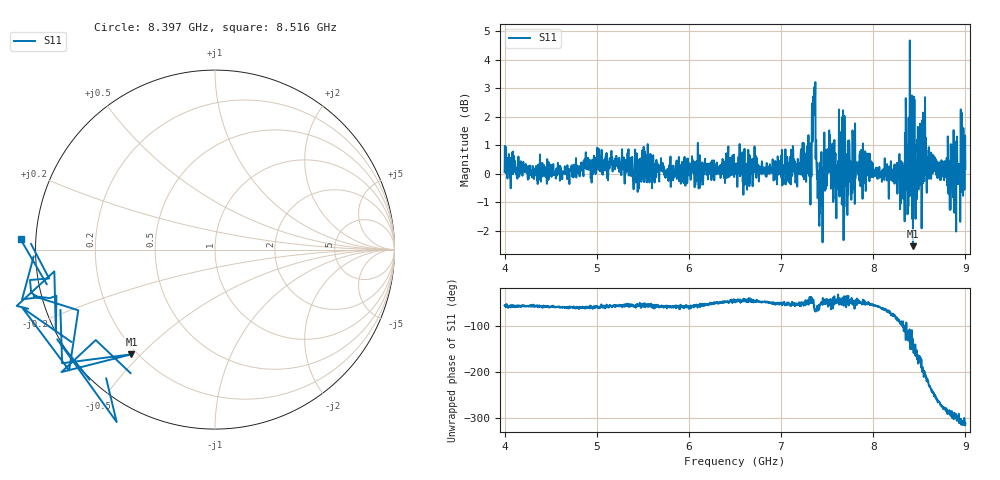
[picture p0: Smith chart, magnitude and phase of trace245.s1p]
! Created with skrf 1.8.0 (http://scikit-rf.org).
# Hz S RI R 50.0
!freq ReS11 ImS11
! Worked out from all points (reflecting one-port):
!   1601 points, 4 GHz to 9 GHz, reference 50 ohm
!   lowest |S11| = -2.5 dB at 8.431 GHz (marker M1), VSWR 6.89, Z = 8.9 - j23.4 ohm
!   phase of S11 starts at -55 deg and turns -256 deg over the sweep
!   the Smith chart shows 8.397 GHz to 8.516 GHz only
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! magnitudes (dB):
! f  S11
! 4 GHz  0.1
! 4.625 GHz  -0.2
! 5.25 GHz  0.2
! 5.875 GHz  -0.1
! 6.5 GHz  0.4
! 7.125 GHz  0.2
! 7.306 GHz  0.2
! 7.359 GHz  2.8
! 7.4 GHz  0.1
! 7.428 GHz  0.4
! 7.512 GHz  0.1
! 7.588 GHz  0.6
! 7.65 GHz  0.8
! 7.703 GHz  0.5
! 7.75 GHz  0.4
! 8.259 GHz  0.4
! 8.316 GHz  0.4
! 8.375 GHz  -0.8
! 8.431 GHz  -2.5
! 8.447 GHz  2.6
! 8.459 GHz  -1.6
! 8.475 GHz  -0.9
! 8.553 GHz  -0.3
! 8.603 GHz  0.9
! 8.812 GHz  0.5
! 8.922 GHz  -0.1
! 8.972 GHz  1.1
! 9 GHz  0.2
